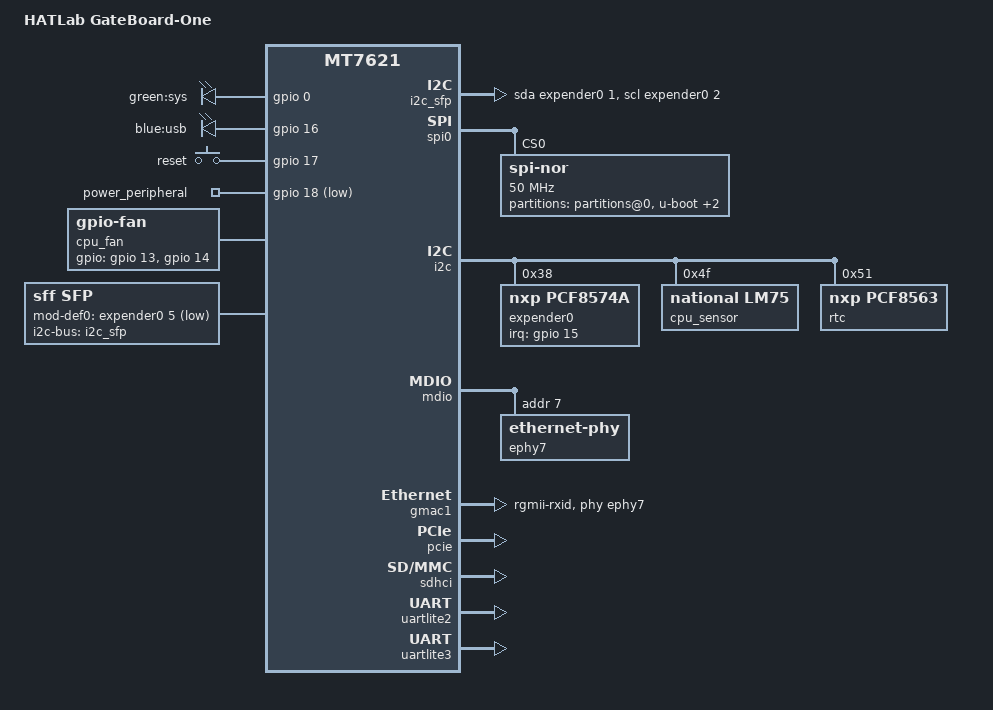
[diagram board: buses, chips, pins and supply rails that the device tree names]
// SPDX-License-Identifier: GPL-2.0-or-later OR MIT

#include "mt7621.dtsi"

#include <dt-bindings/gpio/gpio.h>
#include <dt-bindings/input/input.h>
#include <dt-bindings/thermal/thermal.h>

/ {
	compatible = "hatlab,gateboard-one", "mediatek,mt7621-soc";
	model = "HATLab GateBoard-One";

	aliases {
		led-boot = &led_sys;
		led-failsafe = &led_sys;
		led-running = &led_sys;
		led-upgrade = &led_sys;
	};

	chosen {
		bootargs = "console=ttyS0,115200";
	};

	leds {
		compatible = "gpio-leds";

		led_sys: sys {
			label = "green:sys";
			gpios = <&gpio 0 GPIO_ACTIVE_HIGH>;
		};

		usb {
			label = "blue:usb";
			gpios = <&gpio 16 GPIO_ACTIVE_HIGH>;
			trigger-sources = <&xhci_ehci_port1>;
			linux,default-trigger = "usbport";
		};
	};

	keys {
		compatible = "gpio-keys";

		reset {
			label = "reset";
			gpios = <&gpio 17 GPIO_ACTIVE_HIGH>;
			linux,code = <KEY_RESTART>;
		};
	};

	gpio_export {
		compatible = "gpio-export";
		#size-cells = <0>;

		power_peripheral {
			gpio-export,name = "power_peripheral";
			gpio-export,output = <0>;
			gpios = <&gpio 18 GPIO_ACTIVE_LOW>;
		};
	};

	cpu_fan: cpu_fan {
		compatible = "gpio-fan";
		gpios = <&gpio 13 GPIO_ACTIVE_HIGH
				 &gpio 14 GPIO_ACTIVE_HIGH>;
		gpio-fan,speed-map = <	0		0
								2000	1
								4000	2
								6000	3>;
		#cooling-cells = <2>;
	};

	thermal-zones {
		cpu-thermal {
			polling-delay = <1000>;
			polling-delay-passive = <250>;

			thermal-sensors = <&cpu_sensor>;

			trips {
				cpu_warm: cpu-warm {
					temperature = <26000>;
					hysteresis = <2000>;
					type = "passive";
				};

				cpu_hot: cpu-hot {
					temperature = <37000>;
					hysteresis = <2000>;
					type = "active";
				};

				cpu_alert: cpu-alert {
					temperature = <75000>;
					hysteresis = <2000>;
					type = "hot";
				};

				cpu_crit: cpu-crit {
					temperature = <80000>;
					hysteresis = <2000>;
					type = "critical";
				};
			};

			cooling-maps {
				map0 {
					trip = <&cpu_warm>;
					cooling-device = <&cpu_fan THERMAL_NO_LIMIT 2>;
				};

				map1 {
					trip = <&cpu_hot>;
					cooling-device = <&cpu_fan 3 THERMAL_NO_LIMIT>;
				};
			};
		};
	};

	i2c_sfp: i2c-sfp {
		compatible = "i2c-gpio";
		#address-cells = <1>;
		#size-cells = <0>;

		sda-gpios = <&expender0 1 (GPIO_ACTIVE_HIGH | GPIO_OPEN_DRAIN)>;
		scl-gpios = <&expender0 2 (GPIO_ACTIVE_HIGH | GPIO_OPEN_DRAIN)>;
	};

	sfp: sfp {
		compatible = "sff,sfp";
		i2c-bus = <&i2c_sfp>;
		maximum-power-milliwatt = <5000>;
		mod-def0-gpios = <&expender0 5 (GPIO_ACTIVE_LOW | GPIO_PULL_UP)>;
	};
};

&spi0 {
	status = "okay";

	spi-nor@0 {
		compatible = "jedec,spi-nor";
		reg = <0>;
		spi-max-frequency = <50000000>;

		partitions@0 {
			compatible = "fixed-partitions";
			#address-cells = <1>;
			#size-cells = <1>;

			partition@0 {
				label = "u-boot";
				reg = <0x0 0x40000>;
				read-only;
			};

			partition@40000 {
				label = "u-boot-env";
				reg = <0x40000 0x10000>;
			};

			factory: partition@50000 {
				label = "factory";
				reg = <0x50000 0x10000>;
			};
		};
	};
};

&i2c {
	status = "okay";

	expender0: pcf8574a@38 {
		compatible = "nxp,pcf8574a";
		reg = <0x38>;

		gpio-controller;
		#gpio-cells = <2>;

		interrupt-parent = <&gpio>;
		interrupts = <15 IRQ_TYPE_EDGE_FALLING>;
		interrupt-controller;
		#interrupt-cells = <2>;
	};

	cpu_sensor: lm75@4f {
		compatible = "national,lm75";
		reg = <0x4f>;
		#thermal-sensor-cells = <0>;
	};

	rtc@51 {
		compatible = "nxp,pcf8563";
		reg = <0x51>;
	};
};

&mdio {
	ephy7: ethernet-phy@7 {
		reg = <7>;
		eee-broken-1000t;
	};
};

&gmac0 {
	label = "dsa";
	mtd-mac-address = <&factory 0x0>;
};

&gmac1 {
	status = "okay";
	label = "eth5";
	phy-handle = <&ephy7>;
	phy-mode = "rgmii-rxid";
	mtd-mac-address = <&factory 0x0>;
	mtd-mac-address-increment = <6>;
};

&switch0 {
	ports {
		port@0 {
			status = "okay";
			label = "eth0";
			mtd-mac-address = <&factory 0x0>;
			mtd-mac-address-increment = <1>;
		};

		port@1 {
			status = "okay";
			label = "eth1";
			mtd-mac-address = <&factory 0x0>;
			mtd-mac-address-increment = <2>;
		};

		port@2 {
			status = "okay";
			label = "eth2";
			mtd-mac-address = <&factory 0x0>;
			mtd-mac-address-increment = <3>;
		};

		port@3 {
			status = "okay";
			label = "eth3";
			mtd-mac-address = <&factory 0x0>;
			mtd-mac-address-increment = <4>;
		};

		port@4 {
			status = "okay";
			label = "eth4";
			mtd-mac-address = <&factory 0x0>;
			mtd-mac-address-increment = <5>;
		};
	};
};

&pcie {
	status = "okay";
};

&sdhci {
	status = "okay";
	max-frequency = <20000000>;
};

&state_default {
	gpio {
		groups = "wdt", "jtag";
		function = "gpio";
	};
};

&uartlite2 {
	status = "okay";
};

&uartlite3 {
	status = "okay";
};
